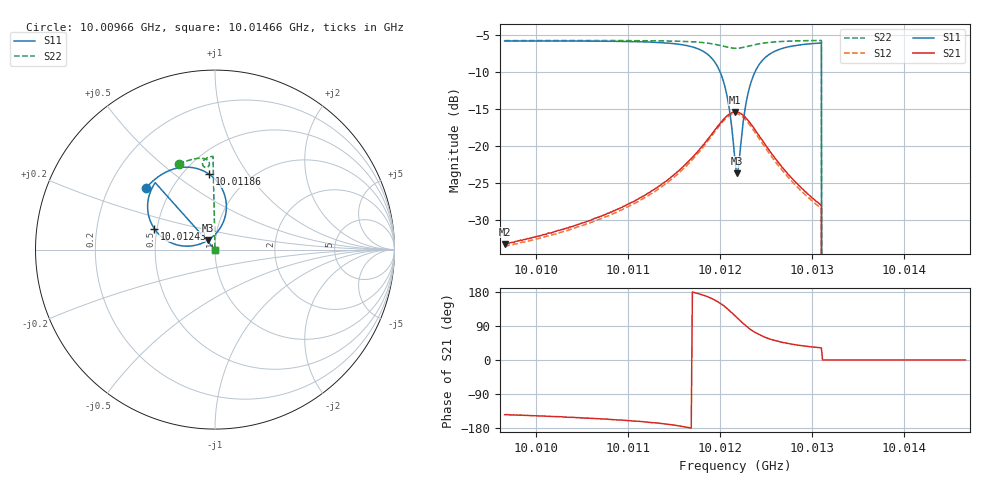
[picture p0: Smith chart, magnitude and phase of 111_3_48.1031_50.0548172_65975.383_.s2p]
#  HZ  S  RI  R  50.00
! Rohde & Schwarz Vector Network Analyzer
! Rohde-Schwarz,ZNB20-2Port,1311601062101988,3.16
! Created: UTC 12/23/2023, 3:45:46 AM
! freq[Hz]  re:S11  im:S11  re:S21  im:S21  re:S12  im:S12  re:S22  im:S22
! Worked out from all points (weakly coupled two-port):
!   401 points, 10.00966 GHz to 10.01466 GHz, reference 50 ohm
!   highest |S21| = -15.35 dB at 10.01216 GHz (marker M1); lowest = -33.2 dB at 10.00966 GHz (marker M2)
!   lowest |S11| = -23.7 dB at 10.01219 GHz (marker M3), VSWR 1.14, Z = 45.9 + j4.82 ohm
!   |S11| at or under -10 dB: 10.012 GHz to 10.01238 GHz (375 kHz wide, 0.00375 % of centre); 10.0131 GHz to end of sweep
!   |S22| runs from - to -5.7 dB; largest |S21 - S12| = 0.0083
!   S11 on the Smith chart (normalised r, x): 10.00966 GHz: 0.36, +0.34; 10.01186 GHz: 0.66, +0.68; 10.01243 GHz: 0.48, +0.13; 10.01466 GHz: 1.00, +0.00
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1.0009663e10  -0.3831 0.3448  -0.0178 -0.0127  -0.0165 -0.0133  -0.2018 0.4773
1.00105e10  -0.3278 0.3971  -0.0269 -0.0138  -0.0252 -0.0145  -0.1493 0.4971
1.001095e10  -0.2838 0.4263  -0.0365 -0.0141  -0.0344 -0.0152  -0.1184 0.5048
1.0011338e10  -0.2245 0.4506  -0.0524 -0.0122  -0.0498 -0.0142  -0.0893 0.5089
1.0011625e10  -0.1466 0.459  -0.0753 -0.00395  -0.0722 -0.0078  -0.0641 0.5078
1.0011863e10  -0.031 0.4191  -0.108 0.0241  -0.1059 0.018  -0.0406 0.4972
1.0011976e10  0.0374 0.3423  -0.1223 0.0606  -0.1222 0.0526  -0.032 0.4841
1.0012051e10  0.0633 0.2494  -0.1208 0.0969  -0.1221 0.0895  -0.0317 0.4719
1.0012101e10  0.0532 0.1718  -0.1081 0.1248  -0.1108 0.1169  -0.0362 0.4638
1.0012163e10  -0.00406 0.08  -0.0765 0.1528  -0.0803 0.146  -0.0465 0.458
1.0012188e10  -0.0397 0.0523  -0.0604 0.1594  -0.0643 0.153  -0.0513 0.4577
1.0012213e10  -0.0796 0.0326  -0.0438 0.1626  -0.0475 0.1564  -0.056 0.4586
1.0012263e10  -0.1628 0.0191  -0.0113 0.1596  -0.0158 0.1539  -0.064 0.464
1.0012301e10  -0.2201 0.0286  0.00971 0.1506  0.00461 0.1455  -0.0676 0.4697
1.0012351e10  -0.281 0.0584  0.0301 0.1342  0.0242 0.1298  -0.0695 0.4779
1.0012426e10  -0.3381 0.1165  0.0459 0.1083  0.0405 0.1051  -0.0674 0.4891
1.0012626e10  -0.3755 0.2438  0.051 0.0601  0.0463 0.0592  -0.0512 0.5072
1.0013001e10  -0.3437 0.3561  0.037 0.0252  0.0339 0.0259  -0.0189 0.5185
1.0013076e10  -0.3356 0.369  0.0346 0.0222  0.0319 0.0226  -0.0129 0.5193
1.0013138e10  0 0  0 0  0 0  0 0
1.0013838e10  0 0  0 0  0 0  0 0
1.0014664e10  0 0  0 0  0 0  0 0
